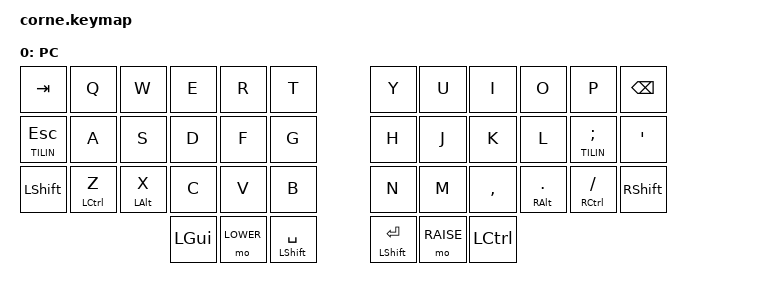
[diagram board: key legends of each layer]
 /*
 * Copyright (c) 2020 The ZMK Contributors
 * a
 * SPDX-License-Identifier: MIT
 */

#include <behaviors.dtsi>
#include <dt-bindings/zmk/keys.h>
#include <dt-bindings/zmk/bt.h>

#define LOWER 3
#define RAISE 5
#define TILIN 7

/ {
    keymap {
            compatible = "zmk,keymap";

            default_layer {
                    label = "PC";
                    bindings = <
                        &kp TAB       &kp Q       &kp W      &kp E &kp R &kp T         &kp Y &kp U  &kp I     &kp O        &kp P          &kp BSPC
                        &lt TILIN ESC &kp A       &kp S      &kp D &kp F &kp G         &kp H &kp J  &kp K     &kp L        &lt TILIN SEMI &kp SQT
                        &kp LSHFT     &hm LCTRL Z &hm LALT X &kp C &kp V &kp B         &kp N &kp M  &kp COMMA &hm RALT DOT &hm RCTRL FSLH &kp RSHFT
                                        &kp LGUI &mo LOWER &hm LSHFT SPACE              &hm LSHFT RET &mo RAISE &kp LCTRL
                    >;
            };
    };
};
